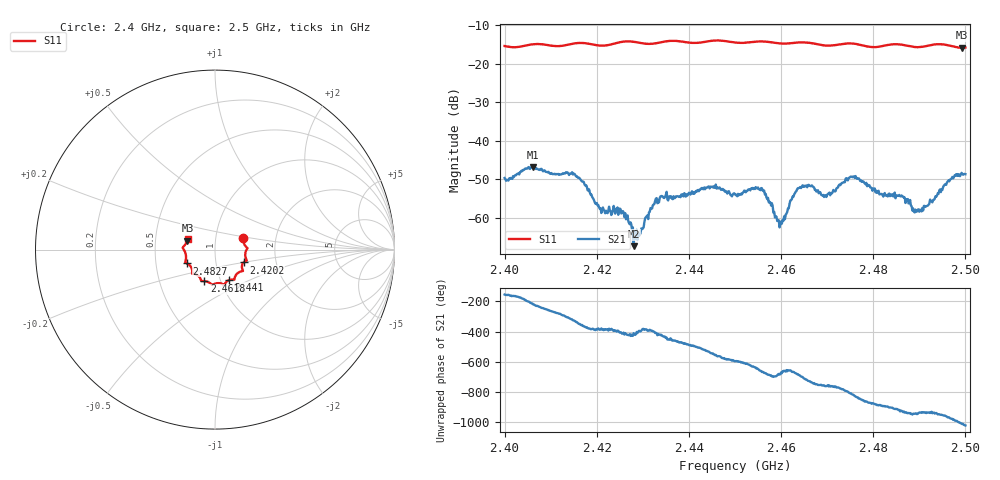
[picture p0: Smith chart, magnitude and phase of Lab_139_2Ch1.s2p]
# Hz S RI R 50
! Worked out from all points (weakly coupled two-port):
!   601 points, 2.4 GHz to 2.5 GHz, reference 50 ohm
!   highest |S21| = -46.81 dB at 2.4062 GHz (marker M1); lowest = -67.4 dB at 2.428 GHz (marker M2)
!   lowest |S11| = -15.8 dB at 2.4993 GHz (marker M3), VSWR 1.39, Z = 36.5 + j3.79 ohm
!   |S11| at or under -10 dB: start of sweep to end of sweep
!   S12 and S22 are empty: the file has one direction only
!   S11 on the Smith chart (normalised r, x): 2.4 GHz: 1.36, +0.18; 2.4202 GHz: 1.36, -0.20; 2.441 GHz: 1.10, -0.39; 2.4618 GHz: 0.84, -0.30; 2.4827 GHz: 0.72, -0.11; 2.5 GHz: 0.73, +0.09
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2.4e9  0.1586 0.063  -0.00296 -0.0014  0 0  0 0
2.406167e9  0.1795 0.0104  -0.00351 0.00292  0 0  0 0
2.416667e9  0.1772 -0.0606  0.00301 0.000126  0 0  0 0
2.420167e9  0.1589 -0.0715  0.00129 -0.000652  0 0  0 0
2.425333e9  0.1549 -0.1151  0.000787 -0.000816  0 0  0 0
2.428e9  0.1523 -0.1198  0.000268 -0.000331  0 0  0 0
2.429333e9  0.1431 -0.122  0.000474 -0.000363  0 0  0 0
2.433333e9  0.1117 -0.1508  0.000953 -0.00136  0 0  0 0
2.441e9  0.0789 -0.1697  -0.00154 -0.00148  0 0  0 0
2.45e9  0.0286 -0.1876  -0.00112 0.00166  0 0  0 0
2.455833e9  -0.0155 -0.1953  0.00146 0.00192  0 0  0 0
2.459667e9  -0.0378 -0.1809  0.000609 0.000434  0 0  0 0
2.461833e9  -0.0589 -0.1754  0.000687 0.00134  0 0  0 0
2.463667e9  -0.072 -0.1755  0.00191 0.00149  0 0  0 0
2.466667e9  -0.0789 -0.1684  0.00253 -0.000721  0 0  0 0
2.4695e9  -0.0909 -0.1476  0.00146 -0.00128  0 0  0 0
2.475667e9  -0.1276 -0.132  -0.000483 -0.00339  0 0  0 0
2.482667e9  -0.1558 -0.0771  -0.00194 -0.000137  0 0  0 0
2.483333e9  -0.1602 -0.075  -0.00204 4.15e-05  0 0  0 0
2.490333e9  -0.1648 -0.0199  -0.000998 0.000742  0 0  0 0
2.499333e9  -0.1539 0.0506  0.00143 0.00343  0 0  0 0
2.5e9  -0.152 0.06  0.00192 0.00314  0 0  0 0
